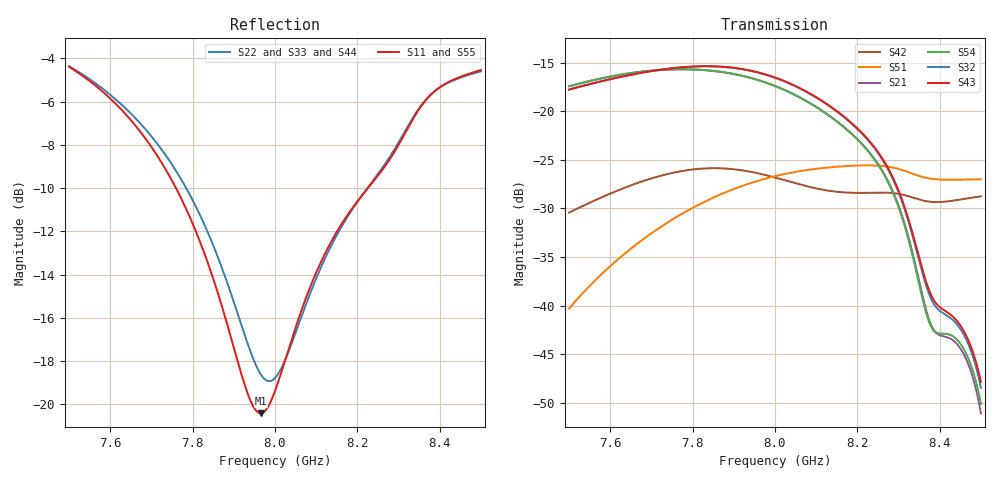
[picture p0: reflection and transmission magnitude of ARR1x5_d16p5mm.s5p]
! Touchstone file exported from HFSS 2025.1.0
!  File:  C:/Users/user/Documents/Ansoft/TFG_UWB-MIMO-Array.aedt
!  Generated:  02:04:20 PM Nov 20, 2026
!  Design:  ARR1x5_US3_PS6_dparam
!  Project:  TFG_UWB-MIMO-Array
!  Setup:  Setup_ch9
!  Solution:  Sweep_7p5_8p5
! Variables:
!  arr_d = 16.5mm
!  board_m = 13mm
!  board_x = 92mm
!  board_y = 26mm
!  cu_t = 0.035mm
!  line_w = 3.92mm
!  pad_xy = 22mm
!  pad_zn = 25mm
!  pad_zp = 33mm
!  par_L = 7.05mm
!  par_W = 11mm
!  par_yc = 0.615mm
!  par_z = 1.035mm
!  patch_L = 6.29mm
!  patch_W = 11.421266mm
!  sub_h = 2.07mm
!  tr_l = 6.6mm
!  tr_w = 0.8mm
!  u_Lu = 2.65mm
!  u_Wu = 4.4mm
!  u_t = 0.8mm
!  u_y0 = -0.7mm
# GHz S MA R 50.000000
! Terminal data exported
! Port[1] = P1
! Port[2] = P2
! Port[3] = P3
! Port[4] = P4
! Port[5] = P5
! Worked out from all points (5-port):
!   1001 points, 7.5 GHz to 8.5 GHz, reference 50 ohm
!   strongest paths, dB at 7.5 GHz, 7.75 GHz, 8 GHz, 8.25 GHz, 8.5 GHz:
!     S43: -17.8, -15.6, -16.5, -24.2, -47.9
!     S32: -17.8, -15.6, -16.6, -24.3, -48.4
!     S54: -17.4, -15.7, -17.4, -25.5, -50.1
!     S21: -17.5, -15.7, -17.4, -25.4, -51.1
!     S51: -40.3, -31.2, -26.7, -25.6, -27.0
!     S42: -30.4, -26.4, -26.8, -28.4, -28.8
!   lowest |S11| = -20.4 dB at 7.965 GHz (marker M1), VSWR 1.21, Z = 60.2 - j2.4 ohm
!   |S11| at or under -10 dB: 7.759 GHz to 8.226 GHz (466.3 MHz wide, 5.83 % of centre)
